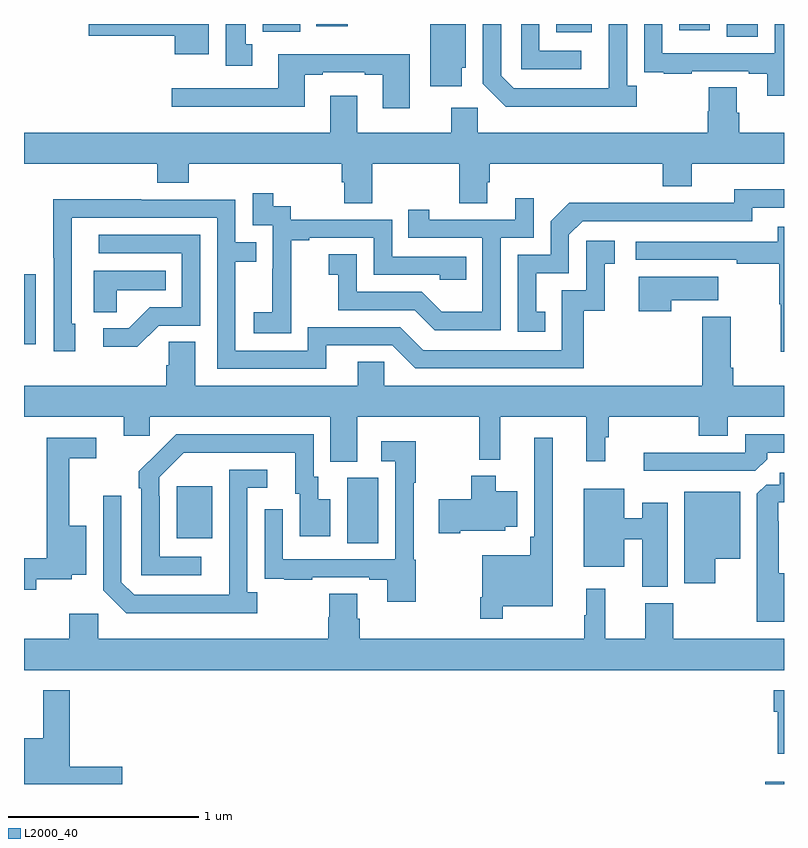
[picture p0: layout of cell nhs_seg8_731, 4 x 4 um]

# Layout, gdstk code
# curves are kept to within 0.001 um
import gdstk
lib = gdstk.Library(unit=1e-6, precision=1e-09)
def R(c, l, rs):  # rectangles x0, y0, x1, y1
    for r in rs: c.add(gdstk.rectangle(r[:2], r[2:], *l))
def P(c, l, *ps):  # polygons
    for p in ps: c.add(gdstk.Polygon(p, *l))
L2000_40 = (2000, 40)

nhs_seg8_731 = lib.new_cell('nhs_seg8_731')
R(nhs_seg8_731, L2000_40, [(162.902,1115.9,163,1115.911), (160.7,1117.168,160.864,1117.512), (159.803,1117.193,159.991,1117.468), (159,1118.214,159.063,1118.584), (162.698,1119.832,162.862,1119.9), (161.801,1119.857,161.989,1119.9), (160.256,1119.86,160.453,1119.9), (162.449,1119.867,162.61,1119.9), (160.538,1119.888,160.705,1119.9)])
P(nhs_seg8_731, L2000_40, [(159.973,1119.9),(159.342,1119.9),(159.342,1119.839),(159.794,1119.839),(159.794,1119.74),(159.973,1119.74)],
  [(162.226,1119.574),(162.174,1119.574),(162.174,1119.9),(162.078,1119.9),(162.077,1119.561),(161.577,1119.561),(161.511,1119.627),(161.511,1119.9),(161.415,1119.9),(161.415,1119.585),(161.536,1119.464),(162.226,1119.464)],
  [(161.932,1119.759),(161.712,1119.759),(161.712,1119.9),(161.616,1119.9),(161.616,1119.663),(161.932,1119.663)],
  [(161.305,1119.669),(161.326,1119.669),(161.326,1119.9),(161.139,1119.9),(161.139,1119.572),(161.305,1119.572)],
  [(163,1119.9),(162.951,1119.9),(162.951,1119.747),(162.36,1119.747),(162.36,1119.9),(162.264,1119.9),(162.264,1119.754),(162.265,1119.754),(162.265,1119.645),(162.367,1119.645),(162.367,1119.639),(162.515,1119.639),(162.515,1119.651),(162.815,1119.651),(162.815,1119.639),(162.911,1119.639),(162.911,1119.522),(163,1119.522)],
  [(160.201,1119.794),(160.168,1119.794),(160.168,1119.9),(160.061,1119.9),(160.061,1119.681),(160.201,1119.681)],
  [(161.029,1119.742),(160.337,1119.742),(160.337,1119.561),(159.777,1119.561),(159.777,1119.464),(160.477,1119.464),(160.477,1119.633),(160.573,1119.633),(160.573,1119.645),(160.793,1119.645),(160.793,1119.633),(160.889,1119.633),(160.889,1119.456),(161.029,1119.456)],
  [(160.833,1119.164),(161.29,1119.164),(161.29,1118.956),(161.437,1118.956),(161.437,1119.066),(161.45,1119.066),(161.45,1119.164),(162.362,1119.164),(162.362,1119.047),(162.514,1119.047),(162.514,1119.164),(163,1119.164),(163,1119.328),(162.764,1119.328),(162.764,1119.434),(162.751,1119.434),(162.751,1119.566),(162.604,1119.566),(162.604,1119.441),(162.599,1119.441),(162.599,1119.328),(161.388,1119.328),(161.388,1119.46),(161.249,1119.46),(161.249,1119.328),(160.753,1119.328),(160.753,1119.523),(160.613,1119.523),(160.613,1119.328),(159,1119.328),(159,1119.164),(159.701,1119.164),(159.701,1119.065),(159.866,1119.065),(159.866,1119.164),(160.673,1119.164),(160.673,1119.066),(160.685,1119.066),(160.685,1118.956),(160.833,1118.956)],
  [(161.744,1118.385),(161.695,1118.385),(161.695,1118.589),(161.868,1118.589),(161.868,1118.79),(161.94,1118.862),(162.834,1118.862),(162.834,1118.934),(163,1118.934),(163,1119.031),(162.738,1119.031),(162.738,1118.958),(162.278,1118.958),(162.278,1118.96),(161.87,1118.96),(161.772,1118.862),(161.772,1118.685),(161.598,1118.685),(161.598,1118.28),(161.744,1118.28)],
  [(160.407,1118.479),(160.406,1118.479),(160.406,1118.763),(160.501,1118.763),(160.501,1118.775),(160.842,1118.775),(160.842,1118.58),(161.187,1118.58),(161.187,1118.553),(161.327,1118.553),(161.327,1118.676),(160.938,1118.676),(160.938,1118.871),(160.404,1118.871),(160.404,1118.94),(160.312,1118.94),(160.312,1119.01),(160.203,1119.01),(160.203,1118.841),(160.308,1118.841),(160.308,1118.612),(160.307,1118.612),(160.307,1118.383),(160.209,1118.383),(160.209,1118.273),(160.407,1118.273)],
  [(161.508,1118.775),(161.682,1118.775),(161.682,1118.983),(161.585,1118.983),(161.585,1118.871),(161.134,1118.871),(161.134,1118.923),(161.023,1118.923),(161.023,1118.775),(161.412,1118.775),(161.412,1118.386),(161.198,1118.386),(161.094,1118.49),(160.752,1118.49),(160.752,1118.689),(160.605,1118.689),(160.605,1118.579),(160.654,1118.579),(160.654,1118.394),(161.057,1118.394),(161.162,1118.289),(161.508,1118.289)],
  [(160.591,1118.208),(160.938,1118.208),(161.058,1118.088),(161.945,1118.088),(161.945,1118.391),(162.056,1118.391),(162.056,1118.637),(162.109,1118.637),(162.109,1118.758),(161.958,1118.758),(161.958,1118.499),(161.829,1118.499),(161.829,1118.184),(161.1,1118.184),(160.98,1118.304),(160.494,1118.304),(160.494,1118.181),(160.113,1118.181),(160.113,1118.65),(160.223,1118.65),(160.223,1118.751),(160.113,1118.751),(160.113,1118.976),(159.617,1118.976),(159.617,1118.978),(159.154,1118.978),(159.154,1118.671),(159.156,1118.671),(159.156,1118.178),(159.271,1118.178),(159.271,1118.322),(159.252,1118.322),(159.252,1118.88),(160.017,1118.88),(160.017,1118.085),(160.591,1118.085)],
  [(163,1118.833),(162.967,1118.833),(162.967,1118.754),(162.219,1118.754),(162.219,1118.658),(162.751,1118.658),(162.751,1118.638),(162.975,1118.638),(162.975,1118.424),(162.982,1118.424),(162.982,1118.175),(163,1118.175)],
  [(159.708,1118.313),(159.927,1118.313),(159.927,1118.79),(159.393,1118.79),(159.393,1118.694),(159.831,1118.694),(159.831,1118.409),(159.662,1118.409),(159.551,1118.298),(159.417,1118.298),(159.417,1118.201),(159.595,1118.201)],
  [(159.489,1118.498),(159.746,1118.498),(159.746,1118.602),(159.368,1118.602),(159.368,1118.383),(159.489,1118.383)],
  [(162.407,1118.447),(162.655,1118.447),(162.655,1118.569),(162.236,1118.569),(162.236,1118.388),(162.407,1118.388)],
  [(160.753,1117.832),(161.397,1117.832),(161.397,1117.607),(161.507,1117.607),(161.507,1117.832),(161.96,1117.832),(161.96,1117.599),(162.059,1117.599),(162.059,1117.724),(162.077,1117.724),(162.077,1117.832),(162.551,1117.832),(162.551,1117.733),(162.703,1117.733),(162.703,1117.832),(163,1117.832),(163,1117.996),(162.734,1117.996),(162.734,1118.092),(162.721,1118.092),(162.721,1118.359),(162.569,1118.359),(162.569,1117.996),(160.896,1117.996),(160.896,1118.123),(160.757,1118.123),(160.757,1117.996),(159.901,1117.996),(159.901,1118.228),(159.762,1118.228),(159.762,1118.105),(159.749,1118.105),(159.749,1117.996),(159,1117.996),(159,1117.832),(159.524,1117.832),(159.524,1117.734),(159.663,1117.734),(159.663,1117.832),(160.613,1117.832),(160.613,1117.597),(160.753,1117.597)],
  [(162.911,1117.61),(162.911,1117.644),(163,1117.644),(163,1117.74),(162.795,1117.74),(162.795,1117.644),(162.261,1117.644),(162.261,1117.548),(162.849,1117.548)],
  [(159.934,1117.095),(159.714,1117.095),(159.714,1117.415),(159.711,1117.415),(159.711,1117.515),(159.84,1117.644),(160.427,1117.644),(160.427,1117.428),(160.451,1117.428),(160.451,1117.203),(160.612,1117.203),(160.612,1117.399),(160.549,1117.399),(160.549,1117.518),(160.524,1117.518),(160.524,1117.74),(159.8,1117.74),(159.603,1117.545),(159.603,1117.457),(159.618,1117.457),(159.618,1116.999),(159.934,1116.999)],
  [(161.521,1116.836),(161.782,1116.836),(161.782,1117.723),(161.685,1117.723),(161.685,1117.201),(161.665,1117.201),(161.665,1117.105),(161.412,1117.105),(161.412,1116.883),(161.4,1116.883),(161.4,1116.771),(161.521,1116.771)],
  [(159.064,1116.977),(159.252,1116.977),(159.252,1117.001),(159.328,1117.001),(159.328,1117.258),(159.239,1117.258),(159.239,1117.614),(159.379,1117.614),(159.379,1117.722),(159.121,1117.722),(159.121,1117.088),(159,1117.088),(159,1116.923),(159.064,1116.923)],
  [(161.062,1117.08),(161.05,1117.08),(161.05,1117.486),(161.062,1117.486),(161.062,1117.705),(160.881,1117.705),(160.881,1117.599),(160.953,1117.599),(160.953,1117.083),(160.362,1117.083),(160.362,1117.345),(160.266,1117.345),(160.266,1117.09),(160.267,1117.09),(160.267,1116.981),(160.369,1116.981),(160.369,1116.975),(160.517,1116.975),(160.517,1116.987),(160.817,1116.987),(160.817,1116.975),(160.913,1116.975),(160.913,1116.858),(161.062,1116.858)],
  [(160.228,1116.91),(160.176,1116.91),(160.176,1117.458),(160.279,1117.458),(160.279,1117.554),(160.08,1117.554),(160.079,1116.897),(159.579,1116.897),(159.513,1116.963),(159.513,1117.417),(159.417,1117.417),(159.417,1116.921),(159.538,1116.8),(160.228,1116.8)],
  [(163,1117.009),(162.973,1117.009),(162.973,1117.283),(162.969,1117.283),(162.969,1117.383),(163,1117.383),(163,1117.537),(162.977,1117.537),(162.977,1117.476),(162.906,1117.476),(162.857,1117.427),(162.857,1116.755),(163,1116.755)],
  [(161.296,1117.232),(161.532,1117.232),(161.532,1117.253),(161.596,1117.253),(161.596,1117.441),(161.482,1117.441),(161.482,1117.522),(161.353,1117.522),(161.353,1117.398),(161.184,1117.398),(161.184,1117.22),(161.296,1117.22)],
  [(162.388,1117.381),(162.254,1117.381),(162.254,1117.299),(162.16,1117.299),(162.16,1117.453),(161.945,1117.453),(161.945,1117.043),(162.16,1117.043),(162.16,1117.188),(162.254,1117.188),(162.254,1116.937),(162.388,1116.937)],
  [(162.637,1117.085),(162.769,1117.085),(162.769,1117.438),(162.476,1117.438),(162.476,1116.957),(162.637,1116.957)],
  [(163,1116.664),(162.417,1116.664),(162.417,1116.852),(162.269,1116.852),(162.269,1116.664),(162.059,1116.664),(162.059,1116.928),(161.96,1116.928),(161.96,1116.788),(161.949,1116.788),(161.949,1116.664),(160.766,1116.664),(160.766,1116.77),(160.753,1116.77),(160.753,1116.902),(160.606,1116.902),(160.606,1116.777),(160.601,1116.777),(160.601,1116.664),(159.39,1116.664),(159.39,1116.796),(159.239,1116.796),(159.239,1116.664),(159,1116.664),(159,1116.5),(163,1116.5)],
  [(163,1116.394),(162.946,1116.394),(162.946,1116.281),(162.966,1116.281),(162.966,1116.059),(163,1116.059)],
  [(159.517,1115.99),(159.242,1115.99),(159.242,1116.394),(159.101,1116.394),(159.101,1116.142),(159,1116.142),(159,1115.9),(159.517,1115.9)])

lib.write_gds('nhs_seg8_731.gds')
